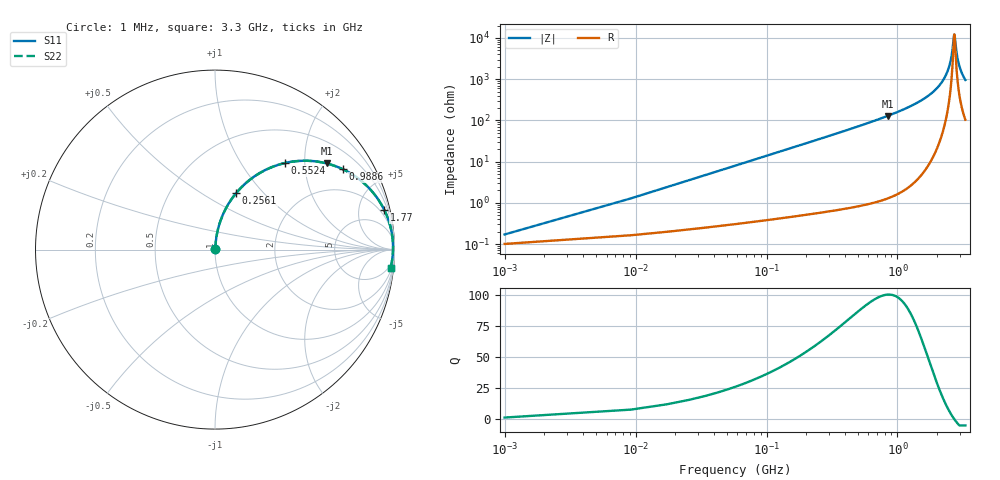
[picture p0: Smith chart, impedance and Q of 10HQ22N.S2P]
! Coilcraft 1008HQ-22N Chip Inductor
! 10 July 2002
# MHZ S MA R 50
!Freq  MagS11  AngS11  MagS21  AngS21  MagS12  AngS12  MagS22  AngS22
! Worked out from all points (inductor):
!   402 points, 1 MHz to 3.3 GHz, reference 50 ohm
!   read as one part in series: L = 22 nH near 17.46 MHz
!   highest Q = 101 at 840.5 MHz (marker M1), where L = 24.3 nH
!   self-resonance near 2.717 GHz
!   S11 on the Smith chart (normalised r, x): 1 MHz: 1.00, +0.00; 256.1 MHz: 1.01, +0.71; 552.4 MHz: 1.02, +1.59; 988.6 MHz: 1.03, +3.15; 1.77 GHz: 1.19, +8.50; 3.3 GHz: 3, -19
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1  0.00171 53.8  0.999 -0.1  0.999 -0.1  0.00171 53.8
25.69  0.03548 84.3  0.9971 -2.0  0.9971 -2.0  0.03548 84.3
42.15  0.05809 84.0  0.9956 -3.3  0.9956 -3.3  0.05809 84.0
58.61  0.0806 83.2  0.9937 -4.6  0.9937 -4.6  0.0806 83.2
132.68  0.1801 78.3  0.9795 -10.4  0.9795 -10.4  0.1801 78.3
256.13  0.3347 69.5  0.9369 -19.6  0.9369 -19.6  0.3347 69.5
552.41  0.6197 51.1  0.778 -38.3  0.778 -38.3  0.6197 51.1
840.46  0.7854 37.7  0.6113 -51.7  0.6113 -51.7  0.7854 37.7
988.6  0.8404 32.2  0.5335 -57.2  0.5335 -57.2  0.8404 32.2
1103.82  0.8734 28.5  0.4779 -60.8  0.4779 -60.8  0.8734 28.5
1655.23  0.9597 15.3  0.2638 -73.6  0.2638 -73.6  0.9597 15.3
1770.45  0.9687 13.2  0.2278 -75.6  0.2278 -75.6  0.9687 13.2
2206.64  0.9877 6.3  0.1104 -80.5  0.1104 -80.5  0.9877 6.3
2387.7  0.9909 3.9  0.06877 -80.4  0.06877 -80.4  0.9909 3.9
2519.38  0.9919 2.3  0.04068 -77.3  0.04068 -77.3  0.9919 2.3
2609.91  0.9921 1.2  0.0227 -69.0  0.0227 -69.0  0.9921 1.2
2708.67  0.9919 0.1  0.008311 -12.1  0.008311 -12.1  0.9919 0.1
2758.05  0.9916 -0.4  0.01141 42.5  0.01141 42.5  0.9916 -0.4
2840.35  0.991 -1.3  0.02487 68.1  0.02487 68.1  0.991 -1.3
2947.34  0.9898 -2.5  0.04375 75.3  0.04375 75.3  0.9898 -2.5
3103.71  0.9875 -4.0  0.07069 77.8  0.07069 77.8  0.9875 -4.0
3300  0.9836 -5.9  0.1028 77.9  0.1028 77.9  0.9836 -5.9
